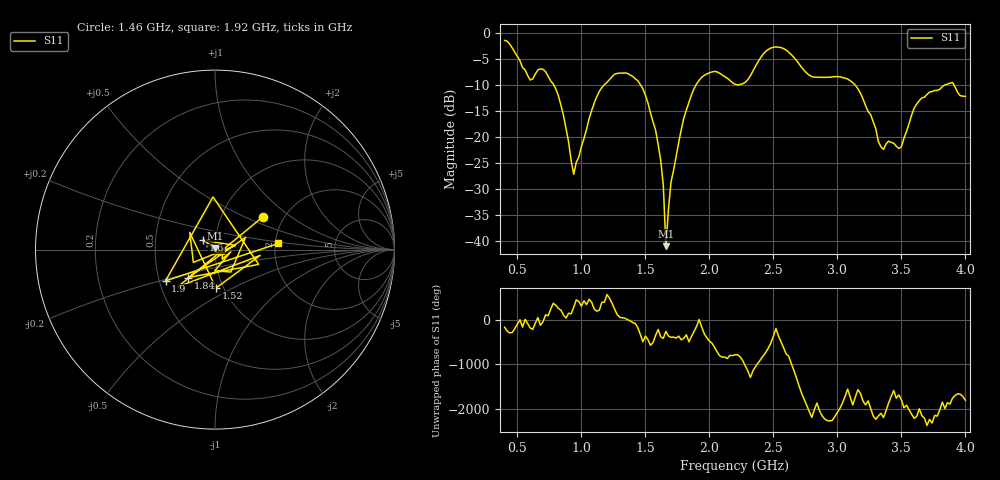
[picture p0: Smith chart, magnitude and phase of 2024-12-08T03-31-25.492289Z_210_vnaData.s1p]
!Created with skrf (http://scikit-rf.org).
# Hz S RI R 50.0
!freq ReS11 ImS11
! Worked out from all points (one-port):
!   181 points, 400 MHz to 4 GHz, reference 50 ohm
!   lowest |S11| = -40.9 dB at 1.66 GHz (marker M1), VSWR 1.02, Z = 49.8 + j0.882 ohm
!   |S11| at or under -10 dB: 785.7 MHz to 1.175 GHz (389.3 MHz wide, 39.7 % of centre); 1.464 GHz to 1.894 GHz (430.2 MHz wide, 25.6 % of centre); 3.141 GHz to 3.835 GHz (693.2 MHz wide, 19.9 % of centre) (the widest 3 of 4)
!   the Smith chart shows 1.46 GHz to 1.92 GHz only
!   S11 on the Smith chart (normalised r, x): 1.46 GHz: 1.57, +0.64; 1.52 GHz: 0.92, -0.41; 1.6 GHz: 0.87, +0.09; 1.84 GHz: 0.71, -0.23; 1.9 GHz: 0.54, -0.21; 1.92 GHz: 2.08, +0.16
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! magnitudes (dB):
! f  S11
! 400 MHz  -1.4
! 600 MHz  -9.0
! 720 MHz  -7.4
! 860 MHz  -15.8
! 940 MHz  -27.1
! 1.12 GHz  -12.2
! 1.3 GHz  -7.6
! 1.46 GHz  -9.8
! 1.52 GHz  -13.4
! 1.6 GHz  -21.5
! 1.64 GHz  -29.3
! 1.66 GHz  -40.9
! 1.7 GHz  -28.6
! 1.76 GHz  -21.0
! 1.84 GHz  -13.3
! 1.9 GHz  -9.7
! 1.92 GHz  -9.0
! 2.2 GHz  -9.8
! 2.48 GHz  -2.8
! 2.66 GHz  -4.6
! 2.8 GHz  -8.3
! 3.1 GHz  -9.1
! 3.36 GHz  -22.3
! 3.5 GHz  -21.8
! 3.56 GHz  -17.3
! 3.72 GHz  -11.3
! 3.9 GHz  -9.5
! 4 GHz  -12.1
